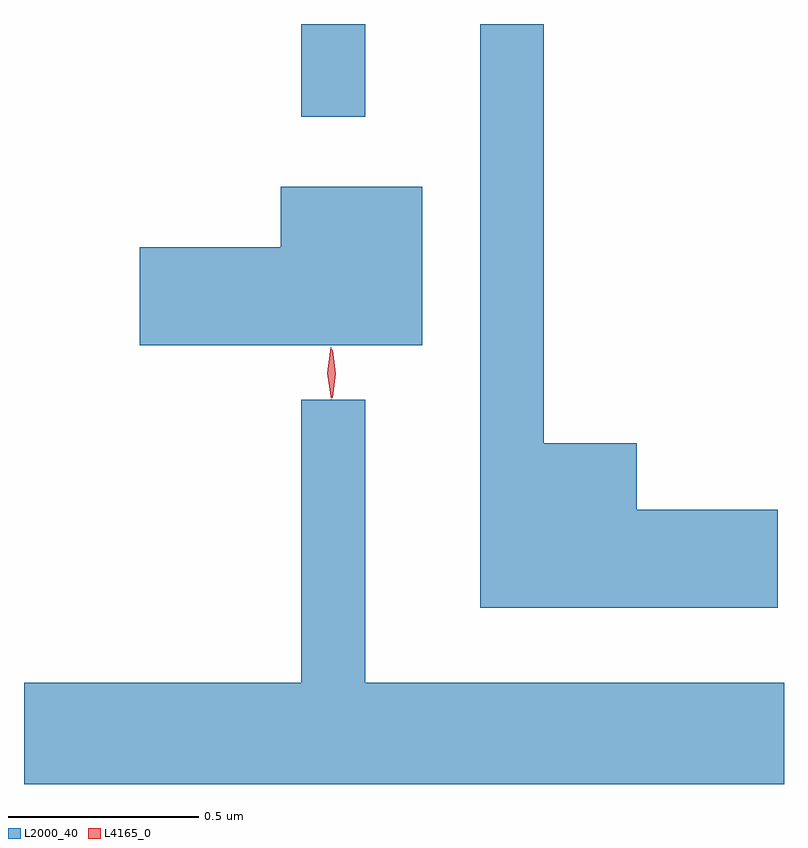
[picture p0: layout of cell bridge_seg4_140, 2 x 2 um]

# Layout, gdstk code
import gdstk
lib = gdstk.Library(unit=1e-6, precision=1e-09)
def R(c, l, rs):  # rectangles x0, y0, x1, y1
    for r in rs: c.add(gdstk.rectangle(r[:2], r[2:], *l))
def P(c, l, *ps):  # polygons
    for p in ps: c.add(gdstk.Polygon(p, *l))
L2000_40 = (2000, 40)
L4165_0 = (4165, 0)

bridge_seg4_140 = lib.new_cell('bridge_seg4_140')
R(bridge_seg4_140, L2000_40, [(892.821,1294.273,892.989,1294.517)])
P(bridge_seg4_140, L2000_40, [(894.074,1293.239),(893.704,1293.239),(893.704,1293.414),(893.459,1293.414),(893.459,1294.517),(893.291,1294.517),(893.291,1292.981),(894.074,1292.981)],
  [(893.139,1294.089),(892.766,1294.089),(892.766,1293.929),(892.396,1293.929),(892.396,1293.671),(893.139,1293.671)],
  [(894.091,1292.784),(892.989,1292.784),(892.989,1293.528),(892.821,1293.528),(892.821,1292.784),(892.091,1292.784),(892.091,1292.517),(894.091,1292.517)])
P(bridge_seg4_140, L4165_0, [(892.902,1293.533),(892.902,1293.533),(892.892,1293.596),(892.902,1293.659),(892.902,1293.66),(892.903,1293.659),(892.912,1293.596),(892.903,1293.533)],
  [(892.899,1293.53),(892.889,1293.598),(892.898,1293.666),(892.899,1293.666),(892.899,1293.666),(892.909,1293.598),(892.9,1293.53),(892.9,1293.53)])

lib.write_gds('bridge_seg4_140.gds')
